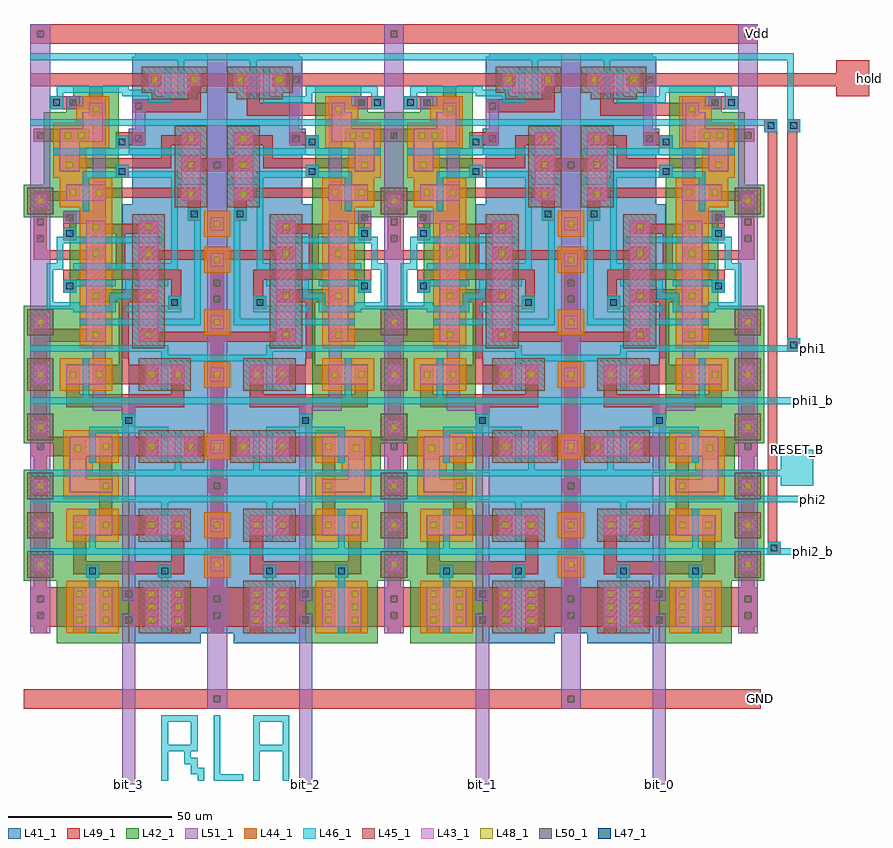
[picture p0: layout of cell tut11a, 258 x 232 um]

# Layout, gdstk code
from math import pi, radians
import gdstk
lib = gdstk.Library(unit=1e-6, precision=1e-09)
def R(c, l, rs):  # rectangles x0, y0, x1, y1
    for r in rs: c.add(gdstk.rectangle(r[:2], r[2:], *l))
def A(c, l, x, y, w, h, nx, ny, dx, dy):  # array of equal rectangles
    R(c, l, [(x+i*dx, y+j*dy, x+i*dx+w, y+j*dy+h) for i in range(nx) for j in range(ny)])
L41_1 = (41, 1)
L42_1 = (42, 1)
L43_1 = (43, 1)
L44_1 = (44, 1)
L45_1 = (45, 1)
L46_1 = (46, 1)
L47_1 = (47, 1)
L48_1 = (48, 1)
L49_1 = (49, 1)
L50_1 = (50, 1)
L51_1 = (51, 1)

tut11d = lib.new_cell('tut11d')
R(tut11d, L41_1, [(7,-62,28,-60), (37,-62,63,-60), (75,-62,85,-60), (99,-62,121,-60), (-17,-60,137,-57), (-21,-57,137,-52), (-21,-52,140,-41), (-17,-41,140,-32), (-17,-32,88,-31), (96,-32,140,-30), (-17,-31,-9,-30), (6,-31,88,-30), (6,-30,53,-28)])
R(tut11d, L42_1, [(72,-30,140,-28), (-5,-28,140,-23), (-22,-23,140,-12), (-22,-12,10,-4), (37,-12,140,-8), (37,-8,121,-7), (37,-7,79,2), (87,-7,121,2), (0,-4,10,2)])
A(tut11d, L43_1, 90, -5, 4, 4, 3, 1, 12, 0)
R(tut11d, L43_1, [(10,-59,14,-55), (21,-59,25,-55), (40,-59,44,-55), (56,-59,60,-55), (78,-59,82,-55), (102,-59,106,-55), (114,-59,118,-55), (-16,-52,5,-46), (77,-51,83,-35), (55,-47,61,-35), (101,-47,107,-35), (123,-47,135,-35), (11,-39,48,-33), (77,-25,83,-17), (90,-25,94,-17), (101,-25,107,-13), (123,-25,135,-13), (0,-23,5,-11), (11,-23,48,-17), (55,-23,61,-11), (-17,-18,-13,-15), (77,-17,94,-12), (-17,-15,-4,-9), (3,-5,7,-1), (40,-5,44,-1), (55,-5,61,-1), (72,-5,76,-1)])
R(tut11d, L44_1, [(8,-61,16,-53), (19,-61,27,-53), (38,-61,46,-53), (54,-61,62,-53), (76,-61,84,-53), (100,-61,108,-53), (112,-61,120,-53), (75,-27,85,-19), (88,-27,96,-19), (99,-27,109,-11), (121,-27,137,-11), (-2,-25,50,-17), (53,-25,63,-9), (-19,-20,-11,-17), (75,-19,96,-10), (-19,-17,50,-15), (-19,-15,7,-9), (-19,-9,-2,-7)])
A(tut11d, L45_1, 88, -7, 8, 8, 3, 1, 12, 0)
R(tut11d, L45_1, [(-18,-54,7,-44), (75,-53,85,-33), (53,-49,63,-33), (99,-49,109,-33), (121,-49,137,-33), (9,-41,50,-31), (1,-7,9,1), (38,-7,46,1), (53,-7,63,1), (70,-7,78,1)])
R(tut11d, L46_1, [(52,-60,54,-42), (65,-60,67,-18), (87,-60,89,-46), (95,-60,97,-42), (111,-60,113,-20), (-11,-54,-9,-7), (-2,-54,0,-45), (7,-52,43,-50), (7,-50,11,-48), (41,-50,43,-15), (34,-46,39,-42), (75,-46,89,-44), (-4,-45,26,-43), (87,-44,89,0), (-4,-43,-2,-30), (24,-43,26,-13), (116,-43,120,-42), (29,-42,31,-31), (37,-42,39,-29), (49,-42,63,-40), (74,-42,85,-40), (95,-42,109,-40), (116,-42,137,-40), (16,-41,18,-14), (49,-40,51,0), (74,-40,76,-32), (95,-40,97,0), (116,-40,120,-39), (70,-32,76,-28), (29,-31,35,-29), (-6,-30,-2,-26), (33,-29,35,-26), (74,-28,76,-20), (-4,-26,-2,-18), (29,-26,31,-14), (33,-26,39,-24), (37,-24,39,-15), (116,-21,120,-20), (74,-20,85,-18), (99,-20,113,-18), (116,-20,137,-18), (-4,-18,8,-16), (53,-18,67,-16), (111,-18,113,0), (116,-18,120,-17), (65,-16,67,0), (36,-15,39,-13), (13,-14,18,-10), (29,-14,33,-10), (36,-13,38,-7), (16,-10,26,-8), (24,-8,26,-7), (24,-7,38,-5)])
R(tut11d, L47_1, [(8,-51,10,-49), (35,-45,37,-43), (117,-42,119,-40), (71,-31,73,-29), (-5,-29,-3,-27), (117,-20,119,-18), (14,-13,16,-11), (30,-13,32,-11)])
A(tut11d, L48_1, 124, -46, 2, 2, 3, 2, 4, 8)
A(tut11d, L48_1, 79, -24, 2, 2, 3, 1, 12, 0)
A(tut11d, L48_1, 124, -24, 2, 2, 3, 2, 4, 8)
A(tut11d, L48_1, 41, -4, 2, 2, 3, 1, 16, 0)
A(tut11d, L48_1, 91, -4, 2, 2, 3, 1, 12, 0)
R(tut11d, L48_1, [(11,-58,13,-56), (22,-58,24,-56), (41,-58,43,-56), (57,-58,59,-56), (79,-58,81,-56), (103,-58,105,-56), (115,-58,117,-56), (-15,-50,-13,-48), (-7,-50,-5,-48), (2,-50,4,-48), (79,-50,81,-48), (57,-46,59,-44), (103,-46,105,-44), (57,-38,59,-36), (79,-38,81,-36), (103,-38,105,-36), (12,-37,14,-35), (20,-37,22,-35), (33,-37,35,-35), (45,-37,47,-35), (1.5,-22,3.5,-20), (57,-22,59,-20), (12,-21,14,-19), (20,-21,22,-19), (33,-21,35,-19), (45,-21,47,-19), (-16,-16.5,-14,-14.5), (103,-16,105,-14), (79.5,-15.5,81.5,-13.5), (1.5,-14,3.5,-12), (57,-14,59,-12), (-7,-13,-5,-11), (-16,-12.5,-14,-10.5), (4,-4,6,-2)])
R(tut11d, L49_1, [(90,-60,94,-59), (123,-60,135,-59), (-8,-59,-4,-52), (10,-59,14,-55), (20,-59,137,-55), (20,-55,23,-39), (45,-55,48,-39), (77,-55,83,-47), (90,-55,94,-54), (123,-55,135,-47), (-16,-52,-12,-46), (-9,-52,-4,-46), (1,-52,11,-48), (1,-48,5,-46), (55,-47,68,-43), (101,-47,119,-43), (123,-47,137,-43), (-15,-46,-12,-43), (1,-46,4,-23), (26,-46,38,-43), (-15,-43,-5,-40), (26,-43,29,-29), (34,-43,38,-42), (64,-43,68,-32), (115,-43,120,-39), (-8,-40,-5,-30), (11,-39,15,-33), (19,-39,23,-33), (32,-39,36,-30), (44,-39,48,-33), (55,-39,61,-30), (77,-39,83,-25), (101,-39,107,-25), (115,-39,119,-21), (123,-39,135,-21), (12,-33,15,-29), (64,-32,74,-28), (-8,-30,-2,-26), (32,-30,61,-27), (12,-29,29,-26), (64,-28,68,-15), (32,-27,36,-17), (55,-27,61,-19), (-8,-26,-5,-15), (12,-26,15,-23), (26,-26,29,-14), (77,-25,107,-21), (-1,-23,5,-19), (11,-23,15,-17), (19,-23,23,-17), (44,-23,48,-5), (115,-21,120,-17), (-17,-18,-13,-1), (20,-17,23,-5), (77,-17,84,-12), (101,-17,119,-13), (123,-17,137,-13), (-9,-15,-4,-9), (0,-15,5,-11), (55,-15,68,-11), (8,-14,17,-10), (26,-14,33,-10), (123,-13,135,-5), (77,-12,83,-5), (2,-11,5,-5), (2,-5,23,-1), (40,-5,137,-1), (77,-1,83,0), (123,-1,135,0)])
R(tut11d, L50_1, [(-7,-58,-5,-56), (29,-58,31,-56), (34,-58,36,-56), (91,-58,93,-56), (125.5,-58,127.5,-56), (130.5,-58,132.5,-56), (124,-31,126,-29), (9,-13,11,-11), (-16,-4,-14,-2), (10.5,-4,12.5,-2), (15.5,-4,17.5,-2), (79,-4,81,-2), (125.5,-4,127.5,-2), (130.5,-4,132.5,-2)])
R(tut11d, L51_1, [(-17,-60,137,-54), (65,-32,127,-28), (65,-28,69,-23), (-17,-23,69,-19), (8,-19,12,-10), (-17,-6,137,0)])
tut11d.add(gdstk.Label('Q_out', (129,-30), layer=49, texttype=1))
tut11d.add(gdstk.Label('phi2_b', (112,-53), layer=46, texttype=1))
tut11d.add(gdstk.Label('phi2', (96,-52), layer=46, texttype=1))
tut11d.add(gdstk.Label('reset_b', (88,-52), layer=46, texttype=1))
tut11d.add(gdstk.Label('phi1_b', (66,-53), layer=46, texttype=1))
tut11d.add(gdstk.Label('phi1', (50,-9), layer=46, texttype=1))
tut11d.add(gdstk.Label('phi1_b', (66,-9), layer=46, texttype=1))
tut11d.add(gdstk.Label('reset_b', (88,-10), layer=46, texttype=1))
tut11d.add(gdstk.Label('phi2', (96,-10), layer=46, texttype=1))
tut11d.add(gdstk.Label('phi2_b', (112,-10), layer=46, texttype=1))
tut11d.add(gdstk.Label('GND', (1,-57), layer=51, texttype=1))
tut11d.add(gdstk.Label('Vdd', (1,-3), layer=51, texttype=1))
tut11d.add(gdstk.Label('B_b', (38,-41), layer=46, texttype=1))
tut11d.add(gdstk.Label('A', (42,-41), layer=46, texttype=1))
tut11d.add(gdstk.Label('B', (30,-41), layer=46, texttype=1))
tut11d.add(gdstk.Label('A_b', (25,-41), layer=46, texttype=1))

tut11c = lib.new_cell('tut11c')
R(tut11c, L41_1, [(-39,-29,-25,-28), (-40,-28,-13,0)])
R(tut11c, L42_1, [(-22,-56,-8,-49), (-27,-49,-8,-47), (-30,-47,-8,-37), (-30,-37,-5,-33)])
R(tut11c, L43_1, [(-17,-51,-13,-44), (-22,-44,-13,-42), (-25,-42,-13,-38), (-34,-24,-30,-21), (-34,-21,-28,-11), (-34,-11,-30,-8)])
R(tut11c, L44_1, [(-19,-53,-11,-46), (-24,-46,-11,-44), (-27,-44,-11,-36)])
R(tut11c, L45_1, [(-36,-26,-28,-23), (-36,-23,-26,-9), (-36,-9,-28,-6)])
R(tut11c, L46_1, [(-40,-60,-38,-15), (-20,-60,-18,0), (-27,-54,-23,-52), (-30,-52,-23,-50), (-30,-50,-28,-32), (-15,-34,-11,-30), (-30,-32,-27,-30), (-29,-30,-27,-24), (-29,-24,-25,-22), (-27,-22,-25,-19), (-36,-19,-25,-17), (-40,-15,-26,-13), (-40,-13,-38,0)])
R(tut11c, L47_1, [(-26,-53,-24,-51), (-14,-33,-12,-31)])
R(tut11c, L48_1, [(-16,-49.5,-14,-47.5), (-16,-45.5,-14,-43.5), (-24,-41,-22,-39), (-33,-23,-31,-21), (-33,-11,-31,-9)])
R(tut11c, L49_1, [(-34,-60,-30,-42), (-17,-59,-13,-42), (-27,-54,-23,-45), (-34,-42,-21,-38), (-34,-38,-30,-20), (-16,-34,-11,-30), (-16,-30,-12,-25), (-26,-29,-22,-12), (-34,-12,-22,-8), (-34,-8,-30,0)])
R(tut11c, L50_1, [(-16,-58,-14,-56), (-26,-48,-24,-46), (-25,-28,-23,-26), (-15,-28,-13,-26)])
R(tut11c, L51_1, [(-40,-60,-13,-54), (-27,-49,-23,-41), (-27,-41,-17,-37), (-26,-29,-12,-25), (-40,-6,-13,0)])
tut11c.add(gdstk.Reference(tut11d, (0,-60), x_reflection=True))

tut11b = lib.new_cell('tut11b')
R(tut11b, L41_1, [(-40,-60,-12,-32), (-39,-32,-25,-31)])
R(tut11b, L42_1, [(-30,-27,-5,-23), (-30,-23,-8,-13), (-27,-13,-8,-11), (-22,-11,-8,-4)])
R(tut11b, L43_1, [(-34,-52,-30,-49), (-34,-49,-28,-39), (-34,-39,-30,-36), (-25,-22,-13,-18), (-22,-18,-13,-16), (-17,-16,-13,-9)])
R(tut11b, L44_1, [(-27,-24,-11,-16), (-24,-16,-11,-14), (-19,-14,-11,-7)])
R(tut11b, L45_1, [(-36,-54,-28,-51), (-36,-51,-26,-37), (-36,-37,-28,-34)])
R(tut11b, L46_1, [(-40,-60,-38,-47), (-20,-60,-18,0), (-40,-47,-26,-45), (-40,-45,-38,0), (-36,-43,-25,-41), (-27,-41,-25,-30), (-30,-30,-25,-28), (-15,-30,-11,-26), (-30,-28,-28,-10), (-30,-10,-23,-8), (-27,-8,-23,-6)])
R(tut11b, L47_1, [(-14,-29,-12,-27), (-26,-9,-24,-7)])
R(tut11b, L48_1, [(-33,-51,-31,-49), (-33,-39,-31,-37), (-24,-21,-22,-19), (-16,-16.5,-14,-14.5), (-16,-12.5,-14,-10.5)])
R(tut11b, L49_1, [(-34,-60,-30,-48), (-34,-48,-21,-44), (-25,-44,-21,-18), (-34,-40,-30,0), (-16,-35,-12,-30), (-15,-30,-11,-26), (-17,-18,-13,-1), (-27,-15,-23,-6)])
R(tut11b, L50_1, [(-33,-34,-31,-32), (-15,-34,-13,-32), (-26,-14,-24,-12), (-16,-4,-14,-2)])
R(tut11b, L51_1, [(-40,-60,-13,-54), (-34,-35,-12,-31), (-27,-23,-17,-19), (-27,-19,-23,-11), (-40,-6,-13,0)])
tut11b.add(gdstk.Reference(tut11d, (0,0)))

tut11a = lib.new_cell('tut11a')
R(tut11a, L42_1, [(78,-62,80,-40)])
R(tut11a, L46_1, [(8,-244,10,-235), (19,-244,21,-242), (24,-244,33,-242), (36,-244,38,-235), (45,-244,47,-235), (17,-242,21,-240), (24,-242,26,-224), (17,-240,19,-239), (15,-239,19,-237), (15,-237,17,-235), (8,-235,19,-233), (36,-235,47,-233), (8,-233,10,-226), (17,-233,19,-226), (36,-233,38,-226), (45,-233,47,-226), (8,-226,19,-224), (36,-226,47,-224), (190,-175,207,-173), (193,-173,197,-171), (190,-159,207,-157), (197,-154,207,-151), (190,-151,207,-149), (197,-149,207,-143), (190,-129,207,-127), (190,-113,207,-111), (199,-111,203,-109), (192,-46,196,-44), (199,-46,203,-42), (190,-44,196,-42), (199,-42,201,-24), (190,-24,201,-22)])
R(tut11a, L47_1, [(194,-174,196,-172), (200,-112,202,-110), (193,-45,195,-43), (200,-45,202,-43)])
A(tut11a, L49_1, -4, -197, 4, 4, 4, 1, 54, 0)
R(tut11a, L49_1, [(-34,-222,191,-216), (193,-175,197,-171), (193,-171,196,-46), (199,-113,203,-109), (199,-109,202,-46), (192,-46,196,-42), (199,-46,203,-42), (214,-35,224,-32), (190,-32,224,-28), (214,-28,224,-24), (-32,-19,190,-13)])
A(tut11a, L50_1, -3, -196, 2, 2, 4, 1, 54, 0)
A(tut11a, L50_1, -30, -17, 2, 2, 3, 1, 108, 0)
R(tut11a, L50_1, [(24,-220,26,-218), (132,-220,134,-218)])
A(tut11a, L51_1, -4, -245, 4, 52, 4, 1, 54, 0)
A(tut11a, L51_1, -32, -22, 6, 9, 3, 1, 108, 0)
R(tut11a, L51_1, [(22,-222,28,-199), (130,-222,136,-199)])
tut11a.add(gdstk.Reference(tut11c, (28,-62), rotation=3*pi/2))
tut11a.add(gdstk.Reference(tut11b, (82,-62), rotation=3*pi/2))
tut11a.add(gdstk.Reference(tut11c, (136,-62), rotation=3*pi/2))
tut11a.add(gdstk.Reference(tut11b, (190,-62), rotation=3*pi/2))
tut11a.add(gdstk.Label('hold', (224,-29.5), layer=49, texttype=1))
tut11a.add(gdstk.Label('phi1', (207,-112), layer=46, texttype=1))
tut11a.add(gdstk.Label('GND', (191,-219), layer=49, texttype=1))
tut11a.add(gdstk.Label('Vdd', (190,-16), layer=49, texttype=1))
tut11a.add(gdstk.Label('phi1_b', (207,-128), layer=46, texttype=1))
tut11a.add(gdstk.Label('phi2', (207,-158), layer=46, texttype=1))
tut11a.add(gdstk.Label('phi2_b', (207,-174), layer=46, texttype=1))
tut11a.add(gdstk.Label('bit_0', (160,-245), layer=51, texttype=1))
tut11a.add(gdstk.Label('bit_1', (106,-245), layer=51, texttype=1))
tut11a.add(gdstk.Label('bit_2', (52,-245), layer=51, texttype=1))
tut11a.add(gdstk.Label('bit_3', (-2,-245), layer=51, texttype=1))
tut11a.add(gdstk.Label('RESET_B', (202,-143), layer=46, texttype=1))

lib.write_gds('tut11a.gds')
